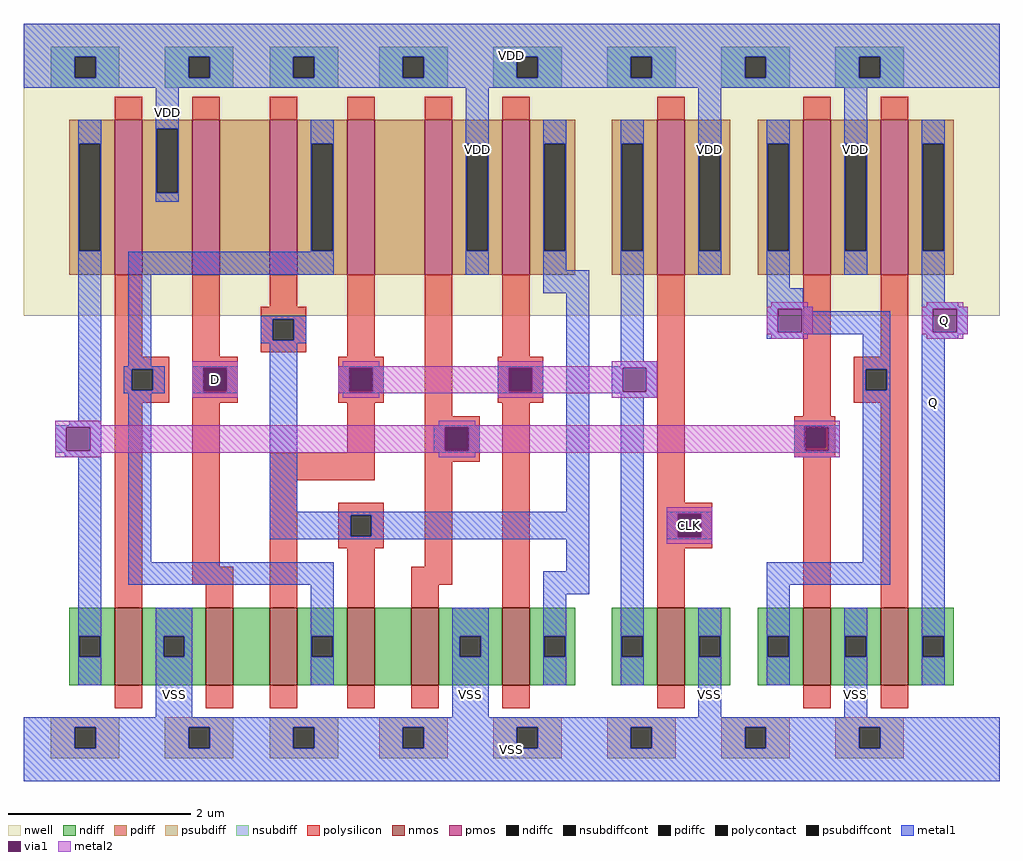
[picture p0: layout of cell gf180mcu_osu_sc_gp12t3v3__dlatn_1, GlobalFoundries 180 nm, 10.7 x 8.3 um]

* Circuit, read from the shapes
.subckt gf180mcu_osu_sc_gp12t3v3__dlatn_1 D Q CLK VDD VSS
XM1 VSS n1 n2 VSS nfet_03v3 w=0.85u l=0.3u
XM2 n3 D VSS VSS nfet_03v3 w=0.85u l=0.3u
XM3 n1 n4 n3 VSS nfet_03v3 w=0.85u l=0.3u
XM4 n5 n6 n1 VSS nfet_03v3 w=0.85u l=0.3u
XM5 VSS n2 n5 VSS nfet_03v3 w=0.85u l=0.3u
XM6 n6 n4 VSS VSS nfet_03v3 w=0.85u l=0.3u
XM7 VSS CLK n4 VSS nfet_03v3 w=0.85u l=0.3u
XM8 VSS n2 n7 VSS nfet_03v3 w=0.85u l=0.3u
XM9 Q n7 VSS VSS nfet_03v3 w=0.85u l=0.3u
XM10 VDD n1 n2 VDD pfet_03v3 w=1.7u l=0.3u
XM11 n8 D VDD VDD pfet_03v3 w=1.7u l=0.3u
XM12 n1 n6 n8 VDD pfet_03v3 w=1.7u l=0.3u
XM13 n9 n4 n1 VDD pfet_03v3 w=1.7u l=0.3u
XM14 VDD n2 n9 VDD pfet_03v3 w=1.7u l=0.3u
XM15 n6 n4 VDD VDD pfet_03v3 w=1.7u l=0.3u
XM16 VDD CLK n4 VDD pfet_03v3 w=1.7u l=0.3u
XM17 VDD n2 n7 VDD pfet_03v3 w=1.7u l=0.3u
XM18 Q n7 VDD VDD pfet_03v3 w=1.7u l=0.3u
.ends

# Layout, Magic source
magic
tech gf180mcuA
magscale 1 10
<< nwell >>
rect 0 1020 2140 1660
<< nmos >>
rect 200 210 260 380
rect 400 210 460 380
rect 540 210 600 380
rect 710 210 770 380
rect 850 210 910 380
rect 1050 210 1110 380
rect 1390 210 1450 380
rect 1710 210 1770 380
rect 1880 210 1940 380
<< pmos >>
rect 200 1110 260 1450
rect 370 1110 430 1450
rect 540 1110 600 1450
rect 710 1110 770 1450
rect 880 1110 940 1450
rect 1050 1110 1110 1450
rect 1390 1110 1450 1450
rect 1710 1110 1770 1450
rect 1880 1110 1940 1450
<< ndiff >>
rect 100 318 200 380
rect 100 272 122 318
rect 168 272 200 318
rect 100 210 200 272
rect 260 318 400 380
rect 260 272 307 318
rect 353 272 400 318
rect 260 210 400 272
rect 460 210 540 380
rect 600 318 710 380
rect 600 272 632 318
rect 678 272 710 318
rect 600 210 710 272
rect 770 210 850 380
rect 910 318 1050 380
rect 910 272 957 318
rect 1003 272 1050 318
rect 910 210 1050 272
rect 1110 318 1210 380
rect 1110 272 1142 318
rect 1188 272 1210 318
rect 1110 210 1210 272
rect 1290 318 1390 380
rect 1290 272 1312 318
rect 1358 272 1390 318
rect 1290 210 1390 272
rect 1450 318 1550 380
rect 1450 272 1482 318
rect 1528 272 1550 318
rect 1450 210 1550 272
rect 1610 318 1710 380
rect 1610 272 1632 318
rect 1678 272 1710 318
rect 1610 210 1710 272
rect 1770 318 1880 380
rect 1770 272 1802 318
rect 1848 272 1880 318
rect 1770 210 1880 272
rect 1940 318 2040 380
rect 1940 272 1972 318
rect 2018 272 2040 318
rect 1940 210 2040 272
<< pdiff >>
rect 100 1397 200 1450
rect 100 1163 122 1397
rect 168 1163 200 1397
rect 100 1110 200 1163
rect 260 1430 370 1450
rect 260 1290 292 1430
rect 338 1290 370 1430
rect 260 1110 370 1290
rect 430 1110 540 1450
rect 600 1397 710 1450
rect 600 1163 632 1397
rect 678 1163 710 1397
rect 600 1110 710 1163
rect 770 1110 880 1450
rect 940 1397 1050 1450
rect 940 1163 972 1397
rect 1018 1163 1050 1397
rect 940 1110 1050 1163
rect 1110 1397 1210 1450
rect 1110 1163 1142 1397
rect 1188 1163 1210 1397
rect 1110 1110 1210 1163
rect 1290 1397 1390 1450
rect 1290 1163 1312 1397
rect 1358 1163 1390 1397
rect 1290 1110 1390 1163
rect 1450 1397 1550 1450
rect 1450 1163 1482 1397
rect 1528 1163 1550 1397
rect 1450 1110 1550 1163
rect 1610 1397 1710 1450
rect 1610 1163 1632 1397
rect 1678 1163 1710 1397
rect 1610 1110 1710 1163
rect 1770 1397 1880 1450
rect 1770 1163 1802 1397
rect 1848 1163 1880 1397
rect 1770 1110 1880 1163
rect 1940 1397 2040 1450
rect 1940 1163 1972 1397
rect 2018 1163 2040 1397
rect 1940 1110 2040 1163
<< ndiffc >>
rect 122 272 168 318
rect 307 272 353 318
rect 632 272 678 318
rect 957 272 1003 318
rect 1142 272 1188 318
rect 1312 272 1358 318
rect 1482 272 1528 318
rect 1632 272 1678 318
rect 1802 272 1848 318
rect 1972 272 2018 318
<< pdiffc >>
rect 122 1163 168 1397
rect 292 1290 338 1430
rect 632 1163 678 1397
rect 972 1163 1018 1397
rect 1142 1163 1188 1397
rect 1312 1163 1358 1397
rect 1482 1163 1528 1397
rect 1632 1163 1678 1397
rect 1802 1163 1848 1397
rect 1972 1163 2018 1397
<< psubdiff >>
rect 60 118 210 140
rect 60 72 112 118
rect 158 72 210 118
rect 60 50 210 72
rect 310 118 460 140
rect 310 72 362 118
rect 408 72 460 118
rect 310 50 460 72
rect 540 118 690 140
rect 540 72 592 118
rect 638 72 690 118
rect 540 50 690 72
rect 780 118 930 140
rect 780 72 832 118
rect 878 72 930 118
rect 780 50 930 72
rect 1030 118 1180 140
rect 1030 72 1082 118
rect 1128 72 1180 118
rect 1030 50 1180 72
rect 1280 118 1430 140
rect 1280 72 1332 118
rect 1378 72 1430 118
rect 1280 50 1430 72
rect 1530 118 1680 140
rect 1530 72 1582 118
rect 1628 72 1680 118
rect 1530 50 1680 72
rect 1780 118 1930 140
rect 1780 72 1832 118
rect 1878 72 1930 118
rect 1780 50 1930 72
<< nsubdiff >>
rect 60 1588 210 1610
rect 60 1542 112 1588
rect 158 1542 210 1588
rect 60 1520 210 1542
rect 310 1588 460 1610
rect 310 1542 362 1588
rect 408 1542 460 1588
rect 310 1520 460 1542
rect 540 1588 690 1610
rect 540 1542 592 1588
rect 638 1542 690 1588
rect 540 1520 690 1542
rect 780 1588 930 1610
rect 780 1542 832 1588
rect 878 1542 930 1588
rect 780 1520 930 1542
rect 1030 1588 1180 1610
rect 1030 1542 1082 1588
rect 1128 1542 1180 1588
rect 1030 1520 1180 1542
rect 1280 1588 1430 1610
rect 1280 1542 1332 1588
rect 1378 1542 1430 1588
rect 1280 1520 1430 1542
rect 1530 1588 1680 1610
rect 1530 1542 1582 1588
rect 1628 1542 1680 1588
rect 1530 1520 1680 1542
rect 1780 1588 1930 1610
rect 1780 1542 1832 1588
rect 1878 1542 1930 1588
rect 1780 1520 1930 1542
<< psubdiffcont >>
rect 112 72 158 118
rect 362 72 408 118
rect 592 72 638 118
rect 832 72 878 118
rect 1082 72 1128 118
rect 1332 72 1378 118
rect 1582 72 1628 118
rect 1832 72 1878 118
<< nsubdiffcont >>
rect 112 1542 158 1588
rect 362 1542 408 1588
rect 592 1542 638 1588
rect 832 1542 878 1588
rect 1082 1542 1128 1588
rect 1332 1542 1378 1588
rect 1582 1542 1628 1588
rect 1832 1542 1878 1588
<< polysilicon >>
rect 200 1450 260 1500
rect 370 1450 430 1500
rect 540 1450 600 1500
rect 710 1450 770 1500
rect 880 1450 940 1500
rect 1050 1450 1110 1500
rect 1390 1450 1450 1500
rect 1710 1450 1770 1500
rect 1880 1450 1940 1500
rect 200 930 260 1110
rect 370 930 430 1110
rect 540 1040 600 1110
rect 520 1013 620 1040
rect 520 967 547 1013
rect 593 967 620 1013
rect 520 940 620 967
rect 710 930 770 1110
rect 200 903 320 930
rect 200 857 237 903
rect 283 857 320 903
rect 200 830 320 857
rect 370 903 470 930
rect 370 857 397 903
rect 443 857 470 903
rect 370 830 470 857
rect 690 903 790 930
rect 690 857 717 903
rect 763 857 790 903
rect 690 830 790 857
rect 200 380 260 830
rect 370 470 430 830
rect 710 720 770 830
rect 540 660 770 720
rect 880 800 940 1110
rect 1050 930 1110 1110
rect 1040 903 1140 930
rect 1040 857 1067 903
rect 1113 857 1140 903
rect 1040 830 1140 857
rect 880 773 1000 800
rect 880 727 927 773
rect 973 727 1000 773
rect 880 700 1000 727
rect 370 430 460 470
rect 400 380 460 430
rect 540 380 600 660
rect 690 583 790 610
rect 690 537 717 583
rect 763 537 790 583
rect 690 510 790 537
rect 710 380 770 510
rect 880 470 940 700
rect 850 430 940 470
rect 850 380 910 430
rect 1050 380 1110 830
rect 1390 610 1450 1110
rect 1710 800 1770 1110
rect 1880 930 1940 1110
rect 1820 903 1940 930
rect 1820 857 1847 903
rect 1893 857 1940 903
rect 1820 830 1940 857
rect 1690 778 1780 800
rect 1690 732 1712 778
rect 1758 732 1780 778
rect 1690 710 1780 732
rect 1390 583 1510 610
rect 1390 537 1437 583
rect 1483 537 1510 583
rect 1390 510 1510 537
rect 1390 380 1450 510
rect 1710 380 1770 710
rect 1880 380 1940 830
rect 200 160 260 210
rect 400 160 460 210
rect 540 160 600 210
rect 710 160 770 210
rect 850 160 910 210
rect 1050 160 1110 210
rect 1390 160 1450 210
rect 1710 160 1770 210
rect 1880 160 1940 210
<< polycontact >>
rect 547 967 593 1013
rect 237 857 283 903
rect 397 857 443 903
rect 717 857 763 903
rect 1067 857 1113 903
rect 927 727 973 773
rect 717 537 763 583
rect 1847 857 1893 903
rect 1712 732 1758 778
rect 1437 537 1483 583
<< metal1 >>
rect 0 1588 2140 1660
rect 0 1542 112 1588
rect 158 1542 362 1588
rect 408 1542 592 1588
rect 638 1542 832 1588
rect 878 1542 1082 1588
rect 1128 1542 1332 1588
rect 1378 1542 1582 1588
rect 1628 1542 1832 1588
rect 1878 1542 2140 1588
rect 0 1520 2140 1542
rect 120 1397 170 1450
rect 120 1163 122 1397
rect 168 1163 170 1397
rect 290 1430 340 1520
rect 290 1290 292 1430
rect 338 1290 340 1430
rect 290 1270 340 1290
rect 630 1397 680 1450
rect 120 790 170 1163
rect 630 1163 632 1397
rect 678 1163 680 1397
rect 630 1160 680 1163
rect 230 1110 680 1160
rect 970 1397 1020 1520
rect 970 1163 972 1397
rect 1018 1163 1020 1397
rect 970 1110 1020 1163
rect 1140 1397 1190 1450
rect 1140 1163 1142 1397
rect 1188 1163 1190 1397
rect 1140 1120 1190 1163
rect 1310 1397 1360 1450
rect 1310 1163 1312 1397
rect 1358 1163 1360 1397
rect 230 910 280 1110
rect 1140 1070 1240 1120
rect 520 1013 620 1020
rect 520 967 547 1013
rect 593 967 620 1013
rect 520 960 620 967
rect 220 903 310 910
rect 220 857 237 903
rect 283 857 310 903
rect 220 850 310 857
rect 370 906 470 910
rect 370 854 394 906
rect 446 854 470 906
rect 370 850 470 854
rect 100 780 170 790
rect 70 776 170 780
rect 70 724 94 776
rect 146 724 170 776
rect 70 720 170 724
rect 90 710 170 720
rect 120 318 170 710
rect 230 480 280 850
rect 540 590 600 960
rect 690 906 790 910
rect 690 854 714 906
rect 766 854 790 906
rect 690 850 790 854
rect 1040 906 1140 910
rect 1040 854 1064 906
rect 1116 854 1140 906
rect 1040 850 1140 854
rect 900 776 1000 780
rect 900 724 924 776
rect 976 724 1000 776
rect 900 720 1000 724
rect 1190 590 1240 1070
rect 1310 920 1360 1163
rect 1480 1397 1530 1520
rect 1480 1163 1482 1397
rect 1528 1163 1530 1397
rect 1480 1110 1530 1163
rect 1630 1397 1680 1450
rect 1630 1163 1632 1397
rect 1678 1163 1680 1397
rect 1630 1080 1680 1163
rect 1800 1397 1850 1520
rect 1800 1163 1802 1397
rect 1848 1163 1850 1397
rect 1800 1110 1850 1163
rect 1970 1397 2020 1450
rect 1970 1163 1972 1397
rect 2018 1163 2020 1397
rect 1630 1040 1710 1080
rect 1970 1050 2020 1163
rect 1970 1040 2050 1050
rect 1630 1036 1730 1040
rect 1630 984 1654 1036
rect 1706 1030 1730 1036
rect 1970 1036 2070 1040
rect 1706 984 1900 1030
rect 1630 980 1900 984
rect 1630 970 1710 980
rect 1310 910 1390 920
rect 1290 906 1390 910
rect 1290 854 1314 906
rect 1366 854 1390 906
rect 1290 850 1390 854
rect 540 583 1240 590
rect 540 537 717 583
rect 763 537 1240 583
rect 540 530 1240 537
rect 230 430 680 480
rect 1190 460 1240 530
rect 120 272 122 318
rect 168 272 170 318
rect 120 210 170 272
rect 290 318 370 380
rect 290 272 307 318
rect 353 272 370 318
rect 290 140 370 272
rect 630 318 680 430
rect 1140 410 1240 460
rect 1310 840 1390 850
rect 1840 903 1900 980
rect 1840 857 1847 903
rect 1893 857 1900 903
rect 630 272 632 318
rect 678 272 680 318
rect 630 210 680 272
rect 940 318 1020 380
rect 940 272 957 318
rect 1003 272 1020 318
rect 940 140 1020 272
rect 1140 318 1190 410
rect 1140 272 1142 318
rect 1188 272 1190 318
rect 1140 210 1190 272
rect 1310 318 1360 840
rect 1690 778 1790 780
rect 1690 732 1712 778
rect 1758 776 1790 778
rect 1690 724 1714 732
rect 1766 724 1790 776
rect 1690 720 1790 724
rect 1410 586 1510 590
rect 1410 534 1434 586
rect 1486 534 1510 586
rect 1410 530 1510 534
rect 1840 480 1900 857
rect 1630 430 1900 480
rect 1970 984 1994 1036
rect 2046 984 2070 1036
rect 1970 980 2070 984
rect 1970 970 2050 980
rect 1310 272 1312 318
rect 1358 272 1360 318
rect 1310 210 1360 272
rect 1480 318 1530 380
rect 1480 272 1482 318
rect 1528 272 1530 318
rect 1480 140 1530 272
rect 1630 318 1680 430
rect 1630 272 1632 318
rect 1678 272 1680 318
rect 1630 210 1680 272
rect 1800 318 1850 380
rect 1800 272 1802 318
rect 1848 272 1850 318
rect 1800 140 1850 272
rect 1970 318 2020 970
rect 1970 272 1972 318
rect 2018 272 2020 318
rect 1970 210 2020 272
rect 0 118 2140 140
rect 0 72 112 118
rect 158 72 362 118
rect 408 72 592 118
rect 638 72 832 118
rect 878 72 1082 118
rect 1128 72 1332 118
rect 1378 72 1582 118
rect 1628 72 1832 118
rect 1878 72 2140 118
rect 0 0 2140 72
<< via1 >>
rect 394 903 446 906
rect 394 857 397 903
rect 397 857 443 903
rect 443 857 446 903
rect 394 854 446 857
rect 94 724 146 776
rect 714 903 766 906
rect 714 857 717 903
rect 717 857 763 903
rect 763 857 766 903
rect 714 854 766 857
rect 1064 903 1116 906
rect 1064 857 1067 903
rect 1067 857 1113 903
rect 1113 857 1116 903
rect 1064 854 1116 857
rect 924 773 976 776
rect 924 727 927 773
rect 927 727 973 773
rect 973 727 976 773
rect 924 724 976 727
rect 1654 984 1706 1036
rect 1314 854 1366 906
rect 1714 732 1758 776
rect 1758 732 1766 776
rect 1714 724 1766 732
rect 1434 583 1486 586
rect 1434 537 1437 583
rect 1437 537 1483 583
rect 1483 537 1486 583
rect 1434 534 1486 537
rect 1994 984 2046 1036
<< metal2 >>
rect 1640 1040 1720 1050
rect 1980 1040 2060 1050
rect 1630 1036 1730 1040
rect 1630 984 1654 1036
rect 1706 984 1730 1036
rect 1630 980 1730 984
rect 1970 1036 2070 1040
rect 1970 984 1994 1036
rect 2046 984 2070 1036
rect 1970 980 2070 984
rect 1640 970 1720 980
rect 1980 970 2060 980
rect 370 906 470 920
rect 700 910 780 920
rect 1040 910 1140 920
rect 1290 910 1390 920
rect 370 854 394 906
rect 446 854 470 906
rect 370 840 470 854
rect 690 906 1390 910
rect 690 854 714 906
rect 766 854 1064 906
rect 1116 854 1314 906
rect 1366 854 1390 906
rect 690 850 1390 854
rect 700 840 780 850
rect 1040 840 1140 850
rect 1290 840 1390 850
rect 70 780 170 790
rect 910 780 990 790
rect 1690 780 1790 790
rect 70 776 1790 780
rect 70 724 94 776
rect 146 724 924 776
rect 976 724 1714 776
rect 1766 724 1790 776
rect 70 720 1790 724
rect 70 710 170 720
rect 910 710 990 720
rect 1690 710 1790 720
rect 1410 586 1510 600
rect 1410 534 1434 586
rect 1486 534 1510 586
rect 1410 520 1510 534
<< labels >>
rlabel via1 s 394 854 446 906 4 D
port 1 nsew signal input
rlabel via1 s 1994 984 2046 1036 4 Q
port 2 nsew signal output
rlabel via1 s 1434 534 1486 586 4 CLK
port 3 nsew clock input
rlabel metal1 s 290 1270 340 1660 4 VDD
port 4 nsew power bidirectional abutment
rlabel metal1 s 290 0 370 380 4 VSS
port 5 nsew ground bidirectional abutment
rlabel metal1 s 970 1110 1020 1660 1 VDD
port 4 nsew power bidirectional abutment
rlabel metal1 s 1480 1110 1530 1660 1 VDD
port 4 nsew power bidirectional abutment
rlabel metal1 s 1800 1110 1850 1660 1 VDD
port 4 nsew power bidirectional abutment
rlabel metal1 s 0 1520 2140 1660 1 VDD
port 4 nsew power bidirectional abutment
rlabel metal1 s 940 0 1020 380 1 VSS
port 5 nsew ground bidirectional abutment
rlabel metal1 s 1480 0 1530 380 1 VSS
port 5 nsew ground bidirectional abutment
rlabel metal1 s 1800 0 1850 380 1 VSS
port 5 nsew ground bidirectional abutment
rlabel metal1 s 0 0 2140 140 1 VSS
port 5 nsew ground bidirectional abutment
rlabel metal2 s 1410 520 1510 600 1 CLK
port 3 nsew clock input
rlabel metal1 s 1410 530 1510 590 1 CLK
port 3 nsew clock input
rlabel metal2 s 370 840 470 920 1 D
port 1 nsew signal input
rlabel metal1 s 370 850 470 910 1 D
port 1 nsew signal input
rlabel metal2 s 1980 970 2060 1050 1 Q
port 2 nsew signal output
rlabel metal2 s 1970 980 2070 1040 1 Q
port 2 nsew signal output
rlabel metal1 s 1970 210 2020 1450 1 Q
port 2 nsew signal output
rlabel metal1 s 1970 970 2050 1050 1 Q
port 2 nsew signal output
rlabel metal1 s 1970 980 2070 1040 1 Q
port 2 nsew signal output
<< properties >>
string FIXED_BBOX 0 0 2140 1660
string GDS_END 403594
string GDS_FILE $PDKPATH/libs.ref/gf180mcu_osu_sc_gp12t3v3/gds/gf180mcu_osu_sc_gp12t3v3.gds
string GDS_START 388226
string LEFclass CORE
string LEFsite gf180mcu_osu_sc_gp12t3v3
string LEFsymmetry X Y
<< end >>
